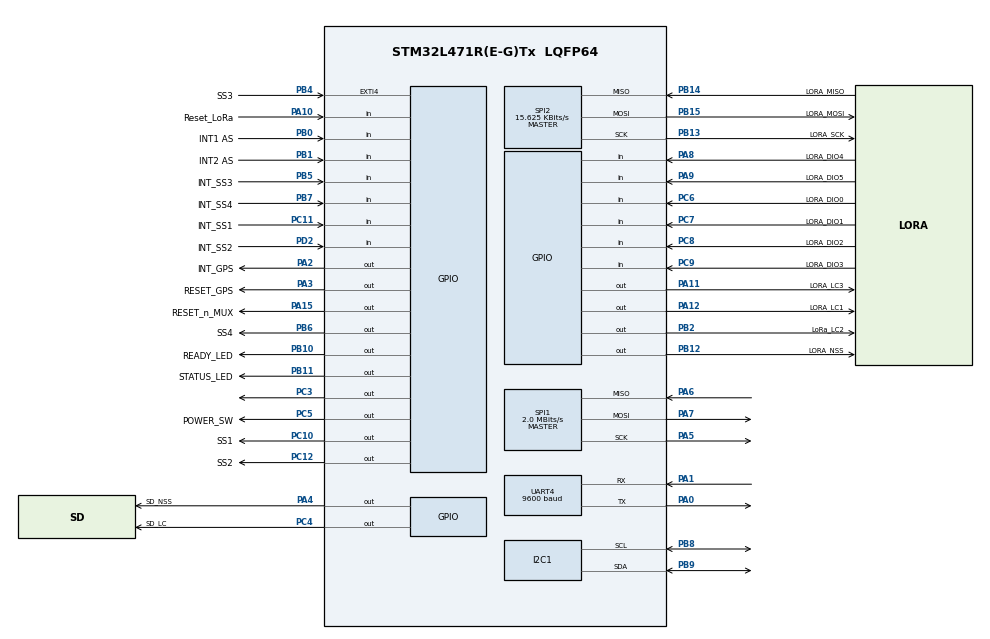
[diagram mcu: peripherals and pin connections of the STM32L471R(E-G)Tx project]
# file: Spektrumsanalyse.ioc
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Mcu.Family=STM32L4
Mcu.Name=STM32L471R(E-G)Tx
Mcu.Package=LQFP64
NVIC.PriorityGroup=NVIC_PRIORITYGROUP_4
NVIC.TIM1_UP_TIM16_IRQn=true\:0\:0\:false\:false\:true\:true\:true\:true
PA0.Mode=Asynchronous
PA0.Signal=UART4_TX
PA1.Mode=Asynchronous
PA1.Signal=UART4_RX
PA10.GPIO_Label=Reset_LoRa
PA10.Signal=GPIO_Input
PA11.GPIO_Label=LORA_LC3
PA11.GPIO_ModeDefaultOutputPP=GPIO_MODE_OUTPUT_OD
PA11.GPIO_PuPd=GPIO_NOPULL
PA11.PinState=GPIO_PIN_SET
PA11.Signal=GPIO_Output
PA12.GPIO_Label=LORA_LC1
PA12.GPIO_ModeDefaultOutputPP=GPIO_MODE_OUTPUT_OD
PA12.GPIO_PuPd=GPIO_NOPULL
PA12.PinState=GPIO_PIN_SET
PA12.Signal=GPIO_Output
PA13\ (JTMS-SWDIO).GPIO_Label=SWDIO
PA13\ (JTMS-SWDIO).Signal=SYS_JTMS-SWDIO
PA14\ (JTCK-SWCLK).GPIO_Label=SWCLK
PA14\ (JTCK-SWCLK).Signal=SYS_JTCK-SWCLK
PA15\ (JTDI).GPIO_Label=RESET_n_MUX
PA15\ (JTDI).PinState=GPIO_PIN_SET
PA15\ (JTDI).Signal=GPIO_Output
PA2.GPIO_Label=INT_GPS
PA2.PinState=GPIO_PIN_SET
PA2.Signal=GPIO_Output
PA3.GPIO_Label=RESET_GPS
PA3.PinState=GPIO_PIN_SET
PA3.Signal=GPIO_Output
PA4.GPIO_Label=SD_NSS
PA4.Signal=GPIO_Output
PA5.Mode=Full_Duplex_Master
PA5.Signal=SPI1_SCK
PA6.Mode=Full_Duplex_Master
PA6.Signal=SPI1_MISO
PA7.Mode=Full_Duplex_Master
PA7.Signal=SPI1_MOSI
PA8.GPIO_Label=LORA_DIO4
PA8.Signal=GPIO_Input
PA9.GPIO_Label=LORA_DIO5
PA9.Signal=GPIO_Input
PB0.GPIO_Label=INT1 AS
PB0.Signal=GPIO_Input
PB1.GPIO_Label=INT2 AS
PB1.Signal=GPIO_Input
PB10.GPIO_Label=READY_LED
PB10.Signal=GPIO_Output
PB11.GPIO_Label=STATUS_LED
PB11.Signal=GPIO_Output
PB12.GPIO_Label=LORA_NSS
PB12.Signal=GPIO_Output
PB13.GPIO_Label=LORA_SCK
PB13.Mode=Full_Duplex_Master
PB13.Signal=SPI2_SCK
PB14.GPIO_Label=LORA_MISO
PB14.Mode=Full_Duplex_Master
PB14.Signal=SPI2_MISO
PB15.GPIO_Label=LORA_MOSI
PB15.Mode=Full_Duplex_Master
PB15.Signal=SPI2_MOSI
PB2.GPIO_Label=LoRa_LC2
PB2.GPIO_ModeDefaultOutputPP=GPIO_MODE_OUTPUT_OD
PB2.GPIO_PuPd=GPIO_NOPULL
PB2.PinState=GPIO_PIN_SET
PB2.Signal=GPIO_Output
PB3\ (JTDO-TRACESWO).GPIO_Label=SWO
PB3\ (JTDO-TRACESWO).Signal=SYS_JTDO-SWO
PB4\ (NJTRST).GPIO_Label=SS3
PB4\ (NJTRST).Signal=GPXTI4
PB5.GPIO_Label=INT_SS3
PB5.Signal=GPIO_Input
PB6.GPIO_Label=SS4
PB6.Signal=GPIO_Output
PB7.GPIO_Label=INT_SS4
PB7.Signal=GPIO_Input
PB8.Mode=I2C
PB8.Signal=I2C1_SCL
PB9.Mode=I2C
PB9.Signal=I2C1_SDA
PC0.GPIO_Label=ADC_3V3
PC0.Signal=ADCx_IN1
PC1.GPIO_Label=ADC_BATTERIE
PC1.Signal=ADCx_IN2
PC10.GPIO_Label=SS1
PC10.Signal=GPIO_Output
PC11.GPIO_Label=INT_SS1
PC11.Signal=GPIO_Input
PC12.GPIO_Label=SS2
PC12.Signal=GPIO_Output
PC3.PinState=GPIO_PIN_SET
PC3.Signal=GPIO_Output
PC4.GPIO_Label=SD_LC
PC4.PinState=GPIO_PIN_SET
PC4.Signal=GPIO_Output
PC5.GPIO_Label=POWER_SW
PC5.Signal=GPIO_Output
PC6.GPIO_Label=LORA_DIO0
PC6.Signal=GPIO_Input
PC7.GPIO_Label=LORA_DIO1
PC7.Signal=GPIO_Input
PC8.GPIO_Label=LORA_DIO2
PC8.Signal=GPIO_Input
PC9.GPIO_Label=LORA_DIO3
PC9.Signal=GPIO_Input
PD2.GPIO_Label=INT_SS2
PD2.Signal=GPIO_Input
ProjectManager.HeapSize=0x200
ProjectManager.StackSize=0x400
ProjectManager.TargetToolchain=STM32CubeIDE
RCC.ADCFreq_Value=16000000
RCC.HSE_VALUE=8000000
RCC.HSI_VALUE=16000000
RCC.LSE_VALUE=32768
RCC.MSI_VALUE=4000000
RCC.VCOOutputFreq_Value=32000000
SH.ADCx_IN1.0=ADC1_IN1
SH.ADCx_IN2.0=ADC2_IN2
SPI1.BaudRatePrescaler=SPI_BAUDRATEPRESCALER_2
SPI1.CalculateBaudRate=2.0 MBits/s
SPI1.DataSize=SPI_DATASIZE_8BIT
SPI1.Direction=SPI_DIRECTION_2LINES
SPI1.Mode=SPI_MODE_MASTER
SPI1.VirtualType=VM_MASTER
SPI2.BaudRatePrescaler=SPI_BAUDRATEPRESCALER_256
SPI2.CalculateBaudRate=15.625 KBits/s
SPI2.DataSize=SPI_DATASIZE_8BIT
SPI2.Direction=SPI_DIRECTION_2LINES
SPI2.Mode=SPI_MODE_MASTER
SPI2.VirtualType=VM_MASTER
TIM16.Period=4000
TIM16.Prescaler=6000
UART4.BaudRate=9600
UART4.Mode=MODE_TX_RX
VP_FATFS_VS_Generic.Mode=User_defined
VP_TIM16_VS_ClockSourceINT.Mode=Enable_Timer
board=custom

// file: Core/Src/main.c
/* USER CODE BEGIN Header */
/**
 ******************************************************************************
 * @file           : main.c
 * @brief          : Main program body
 ******************************************************************************
 * @attention
 *
 * Copyright (c) 2022 STMicroelectronics.
 * All rights reserved.
 *
 * This software is licensed under terms that can be found in the LICENSE file
 * in the root directory of this software component.
 * If no LICENSE file comes with this software, it is provided AS-IS.
 *
 ******************************************************************************
 */
/* USER CODE END Header */
#include "main.h"
#include "fatfs.h"

/* USER CODE BEGIN Includes */
#include "flow.h"
#include "../../Core/Inc/stm32-hal-rfm95/rfm95.h"
#include "../../Drivers/PCA9847_Driver/PCA9847.h"
#include "../../Drivers/MS5607_Driver_C/MS5607.h"
#include "../../Drivers/AS7341_Driver/Waveshare_AS7341.h"
#include "../../Drivers/LSM3030/LSM303AGR.h"
#include "../../Drivers/SHT41/SHT41.h"
#include <stdio.h>
#include <string.h>
#include <stdarg.h> //for va_list var arg functions
#include <stdlib.h>
/* USER CODE END Includes */

I2C_HandleTypeDef hi2c1;

SPI_HandleTypeDef hspi1;
SPI_HandleTypeDef hspi2;

TIM_HandleTypeDef htim16;

UART_HandleTypeDef huart4;

/* USER CODE BEGIN PV */
PCA9847 multiplexer;
uint8_t errIni = 0;
MS5607 barometer;

SHT41 temp_innen = { .i2cHandle = &hi2c1, .Multiplexer_Channel = 5 };
SHT41 temp_aussen = { .i2cHandle = &hi2c1, .Multiplexer_Channel = 4 };
LSM303AGR lsm303agr;

rfm95_handle_t rfm95_handle = { .spi_handle = &hspi2, .nss_port =
LORA_NSS_GPIO_Port, .nss_pin = LORA_NSS_Pin, .nrst_port =
Reset_LoRa_GPIO_Port, .nrst_pin =
Reset_LoRa_Pin, .irq_port = LORA_DIO0_GPIO_Port, .irq_pin =
LORA_DIO0_Pin, .dio5_port = LORA_DIO5_GPIO_Port, .dio5_pin =
LORA_DIO5_Pin, .device_address = { 0x26, 0x0B, 0x9B, 0xB7 },
		.application_session_key = { 0x36, 0x99, 0xBA, 0xEE, 0x6F, 0x2C, 0xFC,
				0xB1, 0x20, 0xB6, 0xF8, 0xB0, 0x99, 0xFC, 0xED, 0xE3 },
		.network_session_key = { 0x0C, 0x78, 0xCE, 0x6F, 0xC4, 0x15, 0x29, 0x37,
				0x2A, 0xE6, 0x52, 0x8B, 0x7E, 0x6F, 0xC6, 0x45 },
		.reload_frame_counter = NULL, .save_frame_counter = NULL, .longitude =
				82202500, .longitude_or = { 'E' }, .latitude = 474785200,
		.latitude_or[0] = { 'N' }, .altitude = 2461, .indent = 0, .gain = 6 };

bool read_and_safe = false;
bool errorDetected = false;
/* USER CODE END PV */

void SystemClock_Config(void);
static void MX_GPIO_Init(void);
static void MX_SPI2_Init(void);
static void MX_TIM16_Init(void);
static void MX_I2C1_Init(void);
static void MX_SPI1_Init(void);
static void MX_UART4_Init(void);
/* USER CODE BEGIN PFP */
void myprintf(const char *fmt, ...);
/* USER CODE END PFP */

/* USER CODE BEGIN 0 */
void myprintf(const char *fmt, ...) {
	static char buffer[256];
	va_list args;
	va_start(args, fmt);
	vsnprintf(buffer, sizeof(buffer), fmt, args);
	va_end(args);

	int len = strlen(buffer);
	//HAL_UART_Transmit(&huart2, (uint8_t*)buffer, len, -1);

}
/* USER CODE END 0 */

int main(void) {

	/* MCU Configuration--------------------------------------------------------*/

	/* Reset of all peripherals, Initializes the Flash interface and the Systick. */
	HAL_Init();

	/* Configure the system clock */
	SystemClock_Config();

	/* Initialize all configured peripherals */
	MX_GPIO_Init();
	MX_SPI2_Init();
	MX_TIM16_Init();
	MX_I2C1_Init();
	MX_SPI1_Init();
	MX_FATFS_Init();
	MX_UART4_Init();
	/* USER CODE BEGIN 2 */

	Setup();

	//NVIC_SetPriority(USART1_IRQn, 0xC);
//	 priority = NVIC_EncodePriority(priorityGroup, 1, 6);
//	NVIC_SetPriority(TIM6_IRQn, 0xC);

//	PCA9847_SetChannel(&multiplexer, 3);
//	AS7341_Init(eSpm);
//	AS7341_ATIME_config(100);
//	AS7341_ASTEP_config(999);
//	AS7341_AGAIN_config(6);

//	PCA9847_SetChannel(&multiplexer, 6);
//	if(MS5607_Init(&barometer, &hi2c1)!=true){
//
//	}

// set RTC interrupt priority to 15 (lowest)
//	NVIC_SetPriority(TIM1_UP_TIM16_IRQn, 15);
//	// set interrupt priority of SysTick to 0 (highest)
//	NVIC_SetPriority(SysTick_IRQn, 0);

//	PCA9847_SetChannel(&multiplexer, 5);
//	SHT41_read(&temp_innen);

	HAL_TIM_Base_Start_IT(&htim16);

//	Write_SD_Card(&rfm95_handle);
//	Write_SD_Card(&rfm95_handle);

	char bfr[1024];
	char msgSep = '$';
	char msgSep1 = 'G';
	char msgSep2 = 'N';
	char msgSep3 = 'G';
	char msgSep4 = 'G';
	char msgSep5 = 'A';

	char part_string[13];
	uint16_t who[] = { 9, 12, 1, 13, 1, 1, 2, 4, 5 };

	bool foundString;
	uint16_t string_Start;

	uint16_t datapoint = 0;

	/* USER CODE END 2 */

	/* Infinite loop */
	/* USER CODE BEGIN WHILE */
	while (1) {

		//HAL_GPIO_TogglePin(SS1_GPIO_Port, SS1_Pin);
		//HAL_GPIO_TogglePin(STATUS_LED_GPIO_Port, STATUS_LED_Pin);
		// HAL_GPIO_TogglePin(READY_LED_GPIO_Port, READY_LED_Pin);
		// HAL_Delay(5000);

		foundString = false;
		string_Start = 0;

		for (int o = 0; o < 1024; ++o) {
			bfr[o] = 0;
		}
		HAL_StatusTypeDef status;
		if (UART4->ISR & USART_ISR_ORE)
			UART4->ICR = USART_ICR_ORECF;

		status = HAL_UART_Receive(&huart4, (uint8_t*) bfr, sizeof(bfr), 800);
		for (uint16_t i = 0; i < 1024; i++) {
			if (bfr[i] == msgSep && bfr[i + 1] == msgSep1
					&& bfr[i + 2] == msgSep2 && bfr[i + 3] == msgSep3
					&& bfr[i + 4] == msgSep4 && bfr[i + 5] == msgSep5) {
//	             if (EvalFrame(&bfr[i], sample)){
//	                 return;
//	             }
				printf(bfr[i]);
				foundString = true;
				string_Start = i + 7;

			}
		}

		if (foundString == true) {
			datapoint = 0;
			while (datapoint < 9) {

				for (int var = 0; var <= who[datapoint]; ++var) {
					if (bfr[string_Start + var] != ',') {
						part_string[var] = bfr[string_Start + var];
					} else {
						if (var == 0) {
							part_string[var] = ',';
						}
						string_Start = string_Start + var + 1;
						for (uint16_t p = var + 1; p < 13; ++p) {
							part_string[p] = '?';
						}
						var = 12 + 1;
					}

				}
				if (datapoint == 0) {
					// 9 is the size of the time array
					for (int looper = 0; looper < 9; ++looper) {
						rfm95_handle.time[looper] = part_string[looper];
					}

				} else if (datapoint == 1) {
					unsigned long answer;
					char *remaining;
					for (uint16_t ll = 5; ll < 10; ++ll) {
						part_string[ll - 1] = part_string[ll];
					}
					for (int z = 0; z < 13; ++z) {
						if (part_string[z] == '?') {
							part_string[z - 1] = '?';

						}
					}
					answer = strtol(part_string, &remaining, 10);
					rfm95_handle.latitude = answer;

				} else if (datapoint == 2) {
					rfm95_handle.latitude_or[0] = part_string[0];

				} else if (datapoint == 3) {
					unsigned long answer;
					char *remaining;
					for (uint16_t ll = 6; ll < 11; ++ll) {
						part_string[ll - 1] = part_string[ll];
					}
					for (int z = 0; z < 13; ++z) {
						if (part_string[z] == '?') {
							part_string[z - 1] = '?';

						}
					}
					answer = strtol(part_string, &remaining, 10);
					rfm95_handle.longitude = answer;
				} else if (datapoint == 4) {
					rfm95_handle.longitude_or[0] = part_string[0];

				} else if (datapoint == 8) {
					unsigned int answer;
					answer = atoi(part_string);
					rfm95_handle.altitude = answer;
				}
				datapoint++;
			}

		}

		if (read_and_safe == true) {
			read_and_safe = false;
			PCA9847_SetChannel(&multiplexer, 7);
			LSM303AGR_ReadAcceleration(&lsm303agr);
			LSM303AGR_ReadMagnetometer(&lsm303agr);
			Read_Spectralsensor(&rfm95_handle);
			check_gain(&rfm95_handle);
			SHT41_read(&temp_innen);
			SHT41_read(&temp_aussen);
			read_temp_aussen(&rfm95_handle);
			read_temp_innen(&rfm95_handle);
			Write_SD_Card_Spectral(&rfm95_handle, &lsm303agr);
			check_stats();
			fail_handler();
		}

		/* USER CODE END WHILE */

	}
}

void SystemClock_Config(void) {
	RCC_OscInitTypeDef RCC_OscInitStruct = { 0 };
	RCC_ClkInitTypeDef RCC_ClkInitStruct = { 0 };

	/** Configure the main internal regulator output voltage
	 */
	if (HAL_PWREx_ControlVoltageScaling(PWR_REGULATOR_VOLTAGE_SCALE1)
			!= HAL_OK) {
		Error_Handler();
	}

	/** Initializes the RCC Oscillators according to the specified parameters
	 * in the RCC_OscInitTypeDef structure.
	 */
	RCC_OscInitStruct.OscillatorType = RCC_OSCILLATORTYPE_MSI;
	RCC_OscInitStruct.MSIState = RCC_MSI_ON;
	RCC_OscInitStruct.MSICalibrationValue = 0;
	RCC_OscInitStruct.MSIClockRange = RCC_MSIRANGE_6;
	RCC_OscInitStruct.PLL.PLLState = RCC_PLL_NONE;
	if (HAL_RCC_OscConfig(&RCC_OscInitStruct) != HAL_OK) {
		Error_Handler();
	}

	/** Initializes the CPU, AHB and APB buses clocks
	 */
	RCC_ClkInitStruct.ClockType = RCC_CLOCKTYPE_HCLK | RCC_CLOCKTYPE_SYSCLK
			| RCC_CLOCKTYPE_PCLK1 | RCC_CLOCKTYPE_PCLK2;
	RCC_ClkInitStruct.SYSCLKSource = RCC_SYSCLKSOURCE_MSI;
	RCC_ClkInitStruct.AHBCLKDivider = RCC_SYSCLK_DIV1;
	RCC_ClkInitStruct.APB1CLKDivider = RCC_HCLK_DIV1;
	RCC_ClkInitStruct.APB2CLKDivider = RCC_HCLK_DIV1;

	if (HAL_RCC_ClockConfig(&RCC_ClkInitStruct, FLASH_LATENCY_0) != HAL_OK) {
		Error_Handler();
	}
}

static void MX_I2C1_Init(void) {

	hi2c1.Instance = I2C1;
	hi2c1.Init.Timing = 0x00000E14;
	hi2c1.Init.OwnAddress1 = 0;
	hi2c1.Init.AddressingMode = I2C_ADDRESSINGMODE_7BIT;
	hi2c1.Init.DualAddressMode = I2C_DUALADDRESS_DISABLE;
	hi2c1.Init.OwnAddress2 = 0;
	hi2c1.Init.OwnAddress2Masks = I2C_OA2_NOMASK;
	hi2c1.Init.GeneralCallMode = I2C_GENERALCALL_DISABLE;
	hi2c1.Init.NoStretchMode = I2C_NOSTRETCH_DISABLE;
	if (HAL_I2C_Init(&hi2c1) != HAL_OK) {
		Error_Handler();
	}

	/** Configure Analogue filter
	 */
	if (HAL_I2CEx_ConfigAnalogFilter(&hi2c1, I2C_ANALOGFILTER_ENABLE)
			!= HAL_OK) {
		Error_Handler();
	}

	/** Configure Digital filter
	 */
	if (HAL_I2CEx_ConfigDigitalFilter(&hi2c1, 0) != HAL_OK) {
		Error_Handler();
	}

}

static void MX_SPI1_Init(void) {

	/* SPI1 parameter configuration*/
	hspi1.Instance = SPI1;
	hspi1.Init.Mode = SPI_MODE_MASTER;
	hspi1.Init.Direction = SPI_DIRECTION_2LINES;
	hspi1.Init.DataSize = SPI_DATASIZE_8BIT;
	hspi1.Init.CLKPolarity = SPI_POLARITY_LOW;
	hspi1.Init.CLKPhase = SPI_PHASE_1EDGE;
	hspi1.Init.NSS = SPI_NSS_SOFT;
	hspi1.Init.BaudRatePrescaler = SPI_BAUDRATEPRESCALER_2;
	hspi1.Init.FirstBit = SPI_FIRSTBIT_MSB;
	hspi1.Init.TIMode = SPI_TIMODE_DISABLE;
	hspi1.Init.CRCCalculation = SPI_CRCCALCULATION_DISABLE;
	hspi1.Init.CRCPolynomial = 7;
	hspi1.Init.CRCLength = SPI_CRC_LENGTH_DATASIZE;
	hspi1.Init.NSSPMode = SPI_NSS_PULSE_ENABLE;
	if (HAL_SPI_Init(&hspi1) != HAL_OK) {
		Error_Handler();
	}

}

static void MX_SPI2_Init(void) {

	/* SPI2 parameter configuration*/
	hspi2.Instance = SPI2;
	hspi2.Init.Mode = SPI_MODE_MASTER;
	hspi2.Init.Direction = SPI_DIRECTION_2LINES;
	hspi2.Init.DataSize = SPI_DATASIZE_8BIT;
	hspi2.Init.CLKPolarity = SPI_POLARITY_LOW;
	hspi2.Init.CLKPhase = SPI_PHASE_1EDGE;
	hspi2.Init.NSS = SPI_NSS_SOFT;
	hspi2.Init.BaudRatePrescaler = SPI_BAUDRATEPRESCALER_256;
	hspi2.Init.FirstBit = SPI_FIRSTBIT_MSB;
	hspi2.Init.TIMode = SPI_TIMODE_DISABLE;
	hspi2.Init.CRCCalculation = SPI_CRCCALCULATION_DISABLE;
	hspi2.Init.CRCPolynomial = 7;
	hspi2.Init.CRCLength = SPI_CRC_LENGTH_DATASIZE;
	hspi2.Init.NSSPMode = SPI_NSS_PULSE_ENABLE;
	if (HAL_SPI_Init(&hspi2) != HAL_OK) {
		Error_Handler();
	}

}

static void MX_TIM16_Init(void) {

	htim16.Instance = TIM16;
	htim16.Init.Prescaler = 6000;
	htim16.Init.CounterMode = TIM_COUNTERMODE_UP;
	htim16.Init.Period = 4000;
	htim16.Init.ClockDivision = TIM_CLOCKDIVISION_DIV1;
	htim16.Init.RepetitionCounter = 0;
	htim16.Init.AutoReloadPreload = TIM_AUTORELOAD_PRELOAD_DISABLE;
	if (HAL_TIM_Base_Init(&htim16) != HAL_OK) {
		Error_Handler();
	}

}

static void MX_UART4_Init(void) {

	huart4.Instance = UART4;
	huart4.Init.BaudRate = 9600;
	huart4.Init.WordLength = UART_WORDLENGTH_8B;
	huart4.Init.StopBits = UART_STOPBITS_1;
	huart4.Init.Parity = UART_PARITY_NONE;
	huart4.Init.Mode = UART_MODE_TX_RX;
	huart4.Init.HwFlowCtl = UART_HWCONTROL_NONE;
	huart4.Init.OverSampling = UART_OVERSAMPLING_16;
	huart4.Init.OneBitSampling = UART_ONE_BIT_SAMPLE_DISABLE;
	huart4.AdvancedInit.AdvFeatureInit = UART_ADVFEATURE_NO_INIT;
	if (HAL_UART_Init(&huart4) != HAL_OK) {
		Error_Handler();
	}

}

static void MX_GPIO_Init(void) {
	GPIO_InitTypeDef GPIO_InitStruct = { 0 };

	/* GPIO Ports Clock Enable */
	__HAL_RCC_GPIOC_CLK_ENABLE();
	__HAL_RCC_GPIOA_CLK_ENABLE();
	__HAL_RCC_GPIOB_CLK_ENABLE();
	__HAL_RCC_GPIOD_CLK_ENABLE();

	/*Configure GPIO pin Output Level */
	HAL_GPIO_WritePin(GPIOC, GPIO_PIN_3 | SD_LC_Pin, GPIO_PIN_SET);

	/*Configure GPIO pin Output Level */
	HAL_GPIO_WritePin(GPIOA,
	INT_GPS_Pin | RESET_GPS_Pin | LORA_LC3_Pin | LORA_LC1_Pin | RESET_n_MUX_Pin,
			GPIO_PIN_SET);

	/*Configure GPIO pin Output Level */
	HAL_GPIO_WritePin(SD_NSS_GPIO_Port, SD_NSS_Pin, GPIO_PIN_RESET);

	/*Configure GPIO pin Output Level */
	HAL_GPIO_WritePin(GPIOC, POWER_SW_Pin | SS1_Pin | SS2_Pin, GPIO_PIN_RESET);

	/*Configure GPIO pin Output Level */
	HAL_GPIO_WritePin(LoRa_LC2_GPIO_Port, LoRa_LC2_Pin, GPIO_PIN_SET);

	/*Configure GPIO pin Output Level */
	HAL_GPIO_WritePin(GPIOB,
	READY_LED_Pin | STATUS_LED_Pin | LORA_NSS_Pin | SS4_Pin, GPIO_PIN_RESET);

	/*Configure GPIO pins : ADC_3V3_Pin ADC_BATTERIE_Pin */
	GPIO_InitStruct.Pin = ADC_3V3_Pin | ADC_BATTERIE_Pin;
	GPIO_InitStruct.Mode = GPIO_MODE_ANALOG_ADC_CONTROL;
	GPIO_InitStruct.Pull = GPIO_NOPULL;
	HAL_GPIO_Init(GPIOC, &GPIO_InitStruct);

	/*Configure GPIO pins : PC3 SD_LC_Pin POWER_SW_Pin SS1_Pin
	 SS2_Pin */
	GPIO_InitStruct.Pin = GPIO_PIN_3 | SD_LC_Pin | POWER_SW_Pin | SS1_Pin
			| SS2_Pin;
	GPIO_InitStruct.Mode = GPIO_MODE_OUTPUT_PP;
	GPIO_InitStruct.Pull = GPIO_NOPULL;
	GPIO_InitStruct.Speed = GPIO_SPEED_FREQ_LOW;
	HAL_GPIO_Init(GPIOC, &GPIO_InitStruct);

	/*Configure GPIO pins : INT_GPS_Pin RESET_GPS_Pin SD_NSS_Pin RESET_n_MUX_Pin */
	GPIO_InitStruct.Pin = INT_GPS_Pin | RESET_GPS_Pin | SD_NSS_Pin
			| RESET_n_MUX_Pin;
	GPIO_InitStruct.Mode = GPIO_MODE_OUTPUT_PP;
	GPIO_InitStruct.Pull = GPIO_NOPULL;
	GPIO_InitStruct.Speed = GPIO_SPEED_FREQ_LOW;
	HAL_GPIO_Init(GPIOA, &GPIO_InitStruct);

	/*Configure GPIO pins : INT1_AS_Pin INT2_AS_Pin INT_SS3_Pin INT_SS4_Pin */
	GPIO_InitStruct.Pin = INT1_AS_Pin | INT2_AS_Pin | INT_SS3_Pin | INT_SS4_Pin;
	GPIO_InitStruct.Mode = GPIO_MODE_INPUT;
	GPIO_InitStruct.Pull = GPIO_NOPULL;
	HAL_GPIO_Init(GPIOB, &GPIO_InitStruct);

	/*Configure GPIO pin : LoRa_LC2_Pin */
	GPIO_InitStruct.Pin = LoRa_LC2_Pin;
	GPIO_InitStruct.Mode = GPIO_MODE_OUTPUT_OD;
	GPIO_InitStruct.Pull = GPIO_NOPULL;
	GPIO_InitStruct.Speed = GPIO_SPEED_FREQ_LOW;
	HAL_GPIO_Init(LoRa_LC2_GPIO_Port, &GPIO_InitStruct);

	/*Configure GPIO pins : READY_LED_Pin STATUS_LED_Pin LORA_NSS_Pin SS4_Pin */
	GPIO_InitStruct.Pin = READY_LED_Pin | STATUS_LED_Pin | LORA_NSS_Pin
			| SS4_Pin;
	GPIO_InitStruct.Mode = GPIO_MODE_OUTPUT_PP;
	GPIO_InitStruct.Pull = GPIO_NOPULL;
	GPIO_InitStruct.Speed = GPIO_SPEED_FREQ_LOW;
	HAL_GPIO_Init(GPIOB, &GPIO_InitStruct);

	/*Configure GPIO pins : LORA_DIO0_Pin LORA_DIO1_Pin LORA_DIO2_Pin LORA_DIO3_Pin
	 INT_SS1_Pin */
	GPIO_InitStruct.Pin = LORA_DIO0_Pin | LORA_DIO1_Pin | LORA_DIO2_Pin
			| LORA_DIO3_Pin | INT_SS1_Pin;
	GPIO_InitStruct.Mode = GPIO_MODE_INPUT;
	GPIO_InitStruct.Pull = GPIO_NOPULL;
	HAL_GPIO_Init(GPIOC, &GPIO_InitStruct);

	/*Configure GPIO pins : LORA_DIO4_Pin LORA_DIO5_Pin Reset_LoRa_Pin */
	GPIO_InitStruct.Pin = LORA_DIO4_Pin | LORA_DIO5_Pin | Reset_LoRa_Pin;
	GPIO_InitStruct.Mode = GPIO_MODE_INPUT;
	GPIO_InitStruct.Pull = GPIO_NOPULL;
	HAL_GPIO_Init(GPIOA, &GPIO_InitStruct);

	/*Configure GPIO pins : LORA_LC3_Pin LORA_LC1_Pin */
	GPIO_InitStruct.Pin = LORA_LC3_Pin | LORA_LC1_Pin;
	GPIO_InitStruct.Mode = GPIO_MODE_OUTPUT_OD;
	GPIO_InitStruct.Pull = GPIO_NOPULL;
	GPIO_InitStruct.Speed = GPIO_SPEED_FREQ_LOW;
	HAL_GPIO_Init(GPIOA, &GPIO_InitStruct);

	/*Configure GPIO pin : INT_SS2_Pin */
	GPIO_InitStruct.Pin = INT_SS2_Pin;
	GPIO_InitStruct.Mode = GPIO_MODE_INPUT;
	GPIO_InitStruct.Pull = GPIO_NOPULL;
	HAL_GPIO_Init(INT_SS2_GPIO_Port, &GPIO_InitStruct);

	/*Configure GPIO pin : SS3_Pin */
	GPIO_InitStruct.Pin = SS3_Pin;
	GPIO_InitStruct.Mode = GPIO_MODE_IT_RISING;
	GPIO_InitStruct.Pull = GPIO_NOPULL;
	HAL_GPIO_Init(SS3_GPIO_Port, &GPIO_InitStruct);

}

/* USER CODE BEGIN 4 */
void HAL_TIM_PeriodElapsedCallback(TIM_HandleTypeDef *htim) {
	static int sendintervall = 4;
	if (htim == &htim16) {
		read_and_safe = true;

		if (sendintervall == 4) {
			HAL_GPIO_TogglePin(STATUS_LED_GPIO_Port, STATUS_LED_Pin);
			Flow(&rfm95_handle);
			sendintervall = 0;
		} else {
			sendintervall++;
		}

//		PCA9847_SetChannel(&multiplexer, 3);
//		sModeOneData_t data1;
//		sModeTwoData_t data2;
//		AS7341_startMeasure(eF1F4ClearNIR);
//		data1 = AS7341_ReadSpectralDataOne();
//		AS7341_startMeasure(eF5F8ClearNIR);
//		data2 = AS7341_ReadSpectralDataTwo();
//		Read_Spectralsensor(&rfm95_handle);
//		SHT41_read(&temp_innen);
//		SHT41_read(&temp_aussen);
		//	read_temp_aussen(&rfm95_handle, 4);
		//	read_temp_innen(&rfm95_handle, 5);
//		Write_SD_Card_Spectral(&rfm95_handle);

	}

}
void Setup(void) {
	FlowInit(&rfm95_handle);
	errIni = PCA9847_Initialise(&multiplexer, &hi2c1);
	Setup_Spectralsensor();
	PCA9847_SetChannel(&multiplexer, 7);
	LSM303AGR_Initialise(&lsm303agr, &hi2c1);
	Write_SD_Card_Header();
}
void Setup_Spectralsensor(void) {

	for (int i = 0; i < ANZAHL_SPECTRALSENSOR; ++i) {
		PCA9847_SetChannel(&multiplexer, i);
		AS7341_Init(eSpm);
		AS7341_ATIME_config(100);
		AS7341_ASTEP_config(999);
		AS7341_AGAIN_config(rfm95_handle.gain);
	}

}
void Setup_Gain(rfm95_handle_t *handle) {

	for (int i = 0; i < ANZAHL_SPECTRALSENSOR; ++i) {
		PCA9847_SetChannel(&multiplexer, i);
		AS7341_AGAIN_config(handle->gain);
	}

}

void Read_Spectralsensor(rfm95_handle_t *handle) {
	sModeOneData_t data1;
	sModeTwoData_t data2;
	for (int i = 0; i < ANZAHL_SPECTRALSENSOR; ++i) {
		PCA9847_SetChannel(&multiplexer, i);
		AS7341_startMeasure(eF1F4ClearNIR);
		handle->spectraldata_1[i] = AS7341_ReadSpectralDataOne();
		AS7341_startMeasure(eF5F8ClearNIR);
		handle->spectraldata_2[i] = AS7341_ReadSpectralDataTwo();
	}

}
void Write_SD_Card_Header() {
	//some variables for FatFs
	FATFS FatFs; 	//Fatfs handle
	FIL fil; 		//File handle
	FRESULT fres; //Result after operations

	//Open the file system
	fres = f_mount(&FatFs, "", 1); //1=mount now
	if (fres != FR_OK) {
		myprintf("f_mount error (%i)\r\n", fres);
		errorDetected = true;
		return;
	}

	UINT bytesWrote;
	fres = f_open(&fil, "write.txt",
	FA_WRITE | FA_OPEN_APPEND | FA_OPEN_EXISTING);
	int cx;
	char data_packet[512];
	cx =
			snprintf(data_packet, 512,
					"Clear;NIR;CH1;CH2;CH3;CH4;CH5;CH6;CH7;CH8;Clear;NIR;CH1;CH2;CH3;CH4;CH5;CH6;CH7;CH8;Clear;NIR;CH1;CH2;CH3;CH4;CH5;CH6;CH7;CH8;Clear;NIR;CH1;CH2;CH3;CH4;CH5;CH6;CH7;CH8;T_innen;T-aussen;R_innen;R_aussen;accx;accy;accz;magx;magy;magz;pitch;roll;lat;lat_or;long;lon_or;alt;gain;time;END \r\n");
	fres = f_write(&fil, data_packet, cx, &bytesWrote);
	f_close(&fil);
}

void Write_SD_Card_Spectral(rfm95_handle_t *handle, LSM303AGR *dev) {
	//some variables for FatFs
	FATFS FatFs; 	//Fatfs handle
	FIL fil; 		//File handle
	FRESULT fres; //Result after operations

	//Open the file system
	fres = f_mount(&FatFs, "", 1); //1=mount now
	if (fres != FR_OK) {
		myprintf("f_mount error (%i)\r\n", fres);
		errorDetected = true;
		return;
	}

	//Now let's try and write a file "write.txt"

	//BYTE readBuf[30];
	UINT bytesWrote;
	fres = f_open(&fil, "write.txt",
	FA_WRITE | FA_OPEN_APPEND | FA_OPEN_EXISTING);
	//strncpy((char*) readBuf, "Test", 30);
	char data_packet_spectral[ANZAHL_SPECTRALSENSOR][768];
	char data_packet[512];
	char data_packet_full[3840];
	int cx, cx1, cx2, cx3;
	int sl[4];

	for (int i = 0; i < ANZAHL_SPECTRALSENSOR; ++i) {
		sl[i] = snprintf(data_packet_spectral[i], 768,
				"%d;%d;%d;%d;%d;%d;%d;%d;%d;%d;",
				handle->spectraldata_1[i].CLEAR, handle->spectraldata_1[i].NIR,
				handle->spectraldata_1[i].channel1,
				handle->spectraldata_1[i].channel2,
				handle->spectraldata_1[i].channel3,
				handle->spectraldata_1[i].channel4,
				handle->spectraldata_2[i].channel5,
				handle->spectraldata_2[i].channel6,
				handle->spectraldata_2[i].channel7,
				handle->spectraldata_2[i].channel8);
		//fres = f_write(&fil, data_packet_spectral, cx, &bytesWrote);
	}
	cx2 = snprintf(data_packet, 512,
			"%f;%f;%f;%f;%f;%f;%f;%f;%f;%f;%f;%f;%lu;%s;%lu;%s;%d;%d;%s",
			handle->tem_innen, handle->tem_aussen, handle->rph_innen,
			handle->rph_aussen, dev->acc[0], dev->acc[1], dev->acc[2],
			dev->mag[0], dev->mag[1], dev->mag[2], dev->pitch, dev->roll,
			handle->latitude, handle->latitude_or, handle->longitude,
			handle->longitude_or, handle->altitude, handle->gain, handle->time);

	cx3 = sniprintf(data_packet_full, 3840, "%.*s%.*s,%.*s,%.*s,%.*s;END \r\n",
			(int) sizeof data_packet_spectral[0], data_packet_spectral[0],
			(int) sizeof data_packet_spectral[1], data_packet_spectral[1],
			(int) sizeof data_packet_spectral[2], data_packet_spectral[2],
			(int) sizeof data_packet_spectral[3], data_packet_spectral[3],
			(int) sizeof data_packet, data_packet);
	fres = f_write(&fil, data_packet_full, cx3, &bytesWrote);
//	cx = snprintf(data_packet_full, 2816, "\r\n");
//	fres = f_write(&fil, data_packet, cx, &bytesWrote);
	f_close(&fil);

}

void Write_SD_Card(rfm95_handle_t *handle) {

	//some variables for FatFs
	FATFS FatFs; 	//Fatfs handle
	FIL fil; 		//File handle
	FRESULT fres; //Result after operations
	//FSIZE_t pointer; // pointer of the last write action
//
//		//Open the file system
//		fres = f_mount(&FatFs, "", 1); //1=mount now
//		if (fres != FR_OK) {
//			myprintf("f_mount error (%i)\r\n", fres);
//			while (1)
//				;
//		}
//
//		//Let's get some statistics from the SD card
//		DWORD free_clusters, free_sectors, total_sectors;
//
//		FATFS *getFreeFs;
//
//		fres = f_getfree("", &free_clusters, &getFreeFs);
//		if (fres != FR_OK) {
//			myprintf("f_getfree error (%i)\r\n", fres);
//			while (1)
//				;
//		}
//
//		//Formula comes from ChaN's documentation
//		total_sectors = (getFreeFs->n_fatent - 2) * getFreeFs->csize;
//		free_sectors = free_clusters * getFreeFs->csize;
//
//		myprintf(
//				"SD card stats:\r\n%10lu KiB total drive space.\r\n%10lu KiB available.\r\n",
//				total_sectors / 2, free_sectors / 2);
//
//		//Now let's try to open file "test.txt"
//		fres = f_open(&fil, "test.txt", FA_READ);
//		if (fres != FR_OK) {
//			myprintf("f_open error (%i)\r\n");
//			while (1)
//				;
//		}
//		myprintf("I was able to open 'test.txt' for reading!\r\n");
//
//		//Read 30 bytes from "test.txt" on the SD card
//		BYTE readBuf[30];
//
//		//We can either use f_read OR f_gets to get data out of files
//		//f_gets is a wrapper on f_read that does some string formatting for us
//		TCHAR *rres = f_gets((TCHAR*) readBuf, 30, &fil);
//		if (rres != 0) {
//			myprintf("Read string from 'test.txt' contents: %s\r\n", readBuf);
//		} else {
//			myprintf("f_gets error (%i)\r\n", fres);
//		}
//
//		//Be a tidy kiwi - don't forget to close your file!
//		f_close(&fil);
//
//		//Now let's try and write a file "write.txt"
//		fres = f_open(&fil, "write.txt",
//		FA_WRITE | FA_OPEN_ALWAYS | FA_CREATE_ALWAYS);
//		if (fres == FR_OK) {
//			myprintf("I was able to open 'write.txt' for writing\r\n");
//		} else {
//			myprintf("f_open error (%i)\r\n", fres);
//		}
//
//		//Copy in a string
//		strncpy((char*) readBuf, "a new file is made!", 19);
//		UINT bytesWrote;
//		fres = f_write(&fil, readBuf, 19, &bytesWrote);
//		if (fres == FR_OK) {
//			myprintf("Wrote %i bytes to 'write.txt'!\r\n", bytesWrote);
//		} else {
//			myprintf("f_write error (%i)\r\n");
//		}
//
//		//Be a tidy kiwi - don't forget to close your file!
//		f_close(&fil);
//
//		//We're done, so de-mount the drive
//		f_mount(NULL, "", 0);

	//Open the file system
	static uint8_t counter = 0;
	if (counter == 0) {
		fres = f_mount(&FatFs, "", 1); //1=mount now
		if (fres != FR_OK) {
			myprintf("f_mount error (%i)\r\n", fres);
			while (1)
				;
		}
	}

	//Now let's try and write a file "write.txt"

	//BYTE readBuf[30];
	UINT bytesWrote;
	fres = f_open(&fil, "write.txt",
	FA_WRITE | FA_OPEN_APPEND | FA_OPEN_EXISTING);
	//strncpy((char*) readBuf, "Test", 30);
	char data_packet[51];
	int cx;
	cx = snprintf(data_packet, 51, "{%d,%c,%d,%c,%d,%d}\r\n", handle->longitude,
			handle->longitude_or[0], handle->latitude, handle->latitude_or[0],
			handle->altitude, counter);

	fres = f_write(&fil, data_packet, cx, &bytesWrote);
	cx = snprintf(data_packet, 51, "{Test,%d}\r\n", counter);
	fres = f_write(&fil, data_packet, cx, &bytesWrote);

	f_close(&fil);
	counter++;
}

read_temp_innen(rfm95_handle_t *handle) {
	PCA9847_SetChannel(&multiplexer, 5);
	HAL_StatusTypeDef status;
	uint8_t value[6] = { 0 };
	uint8_t cmd = 0xFD;
	status = HAL_I2C_Master_Transmit(&hi2c1, 0x44 << 1, &cmd, 1, 10);
	HAL_Delay(10);
	status = HAL_I2C_Master_Receive(&hi2c1, 0x44 << 1, value, 6, 10);

	float t_ticks = value[0] * 256 + value[1];
	float checksum_t = value[2];
	float rh_ticks = value[3] * 256 + value[4];
	float checksum_rh = value[5];
	float t_degC = -45 + 175 * t_ticks / 65535;
	float rh_pRH = -6 + 125 * rh_ticks / 65535;
	if (rh_pRH > 100) {
		rh_pRH = 100;
	}
	if (rh_pRH < 0) {
		rh_pRH = 0;
	}
	handle->tem_innen = t_degC;
	handle->rph_innen = rh_pRH;
}

read_temp_aussen(rfm95_handle_t *handle) {
	PCA9847_SetChannel(&multiplexer, 4);
	HAL_StatusTypeDef status;
	uint8_t value[6] = { 0 };
	uint8_t cmd = 0xFD;
	status = HAL_I2C_Master_Transmit(&hi2c1, 0x44 << 1, &cmd, 1, 10);
	HAL_Delay(10);
	status = HAL_I2C_Master_Receive(&hi2c1, 0x44 << 1, value, 6, 10);

	float t_ticks = value[0] * 256 + value[1];
	float checksum_t = value[2];
	float rh_ticks = value[3] * 256 + value[4];
	float checksum_rh = value[5];
	float t_degC = -45 + 175 * t_ticks / 65535;
	float rh_pRH = -6 + 125 * rh_ticks / 65535;
	if (rh_pRH > 100) {
		rh_pRH = 100;
	}
	if (rh_pRH < 0) {
		rh_pRH = 0;
	}
	handle->tem_aussen = t_degC;
	handle->rph_aussen = rh_pRH;
}

void check_gain(rfm95_handle_t *handle) {
	uint64_t MAXVALUE = 60000;
	uint64_t MINVALUE = 10;
	bool setGain_up = false;
	bool setGain_down = false;

	for (int i = 0; i < ANZAHL_SPECTRALSENSOR; ++i) {
		if (handle->spectraldata_1[i].channel2 > MAXVALUE
				|| handle->spectraldata_1[i].channel3 > MAXVALUE
				|| handle->spectraldata_1[i].channel4 > MAXVALUE) {
			setGain_down = true;

		}
		if (handle->spectraldata_1[i].channel2 < MINVALUE
				|| handle->spectraldata_1[i].channel3 < MINVALUE
				|| handle->spectraldata_1[i].channel4 < MINVALUE) {
			setGain_up = true;

		}

	}
	if (setGain_up == true && setGain_down == false) {
		if (handle->gain != 10) {
			handle->gain = handle->gain + 1;
			Setup_Gain(handle);
		}
	}
	if (setGain_down == true && setGain_up == false) {
		if (handle->gain != 0) {
			handle->gain = handle->gain - 1;
			Setup_Gain(handle);
		}

	}
	setGain_down = false;
	setGain_up = false;

}
void check_spectral(rfm95_handle_t *handle) {
	for (int i = 0; i < ANZAHL_SPECTRALSENSOR; ++i) {
		if (handle->spectraldata_1[i].CLEAR == 0
				&& handle->spectraldata_1[i].channel1 == 0
				&& handle->spectraldata_1[i].channel2 == 0
				&& handle->spectraldata_1[i].channel3 == 0
				&& handle->spectraldata_1[i].channel4 == 0) {
			errorDetected = true;

		}
	}
}
void check_imu(LSM303AGR *dev) {
	static bool last_time_was_zero;

	if (dev->acc[0] == 0 && dev->acc[1] == 0 && dev->acc[2] == 0) {
		if (last_time_was_zero == true) {
			last_time_was_zero = false;
			errorDetected = true;
		} else {
			last_time_was_zero = false;
		}
	} else {
		last_time_was_zero = false;
	}

}

void check_stats() {
	check_spectral(&rfm95_handle);
	check_imu(&rfm95_handle);

}

void fail_handler() {
	static uint64_t last_time = 0;
	uint64_t time = HAL_GetTick();
	// the timing stuff needs to be checked
	if (errorDetected == true && (time - last_time) > 30000) {
		HAL_GPIO_WritePin(POWER_SW_GPIO_Port, POWER_SW_Pin, GPIO_PIN_SET);
		HAL_Delay(5000);
		HAL_GPIO_WritePin(POWER_SW_GPIO_Port, POWER_SW_Pin, GPIO_PIN_RESET);
		Setup();
		errorDetected = false;
		last_time = HAL_GetTick();
	}

}

void read_akkuspannung() {
	uint16_t raw;
//	HAL_ADC_Start(&hadc2);
//	HAL_ADC_PollForConversion(&hadc2, HAL_MAX_DELAY);
//	raw = HAL_ADC_GetValue(&hadc2);
//	rfm95_handle.battery_voltage = raw;
}

/* USER CODE END 4 */

void Error_Handler(void) {
	__disable_irq();
	while (1) {
	}
}
